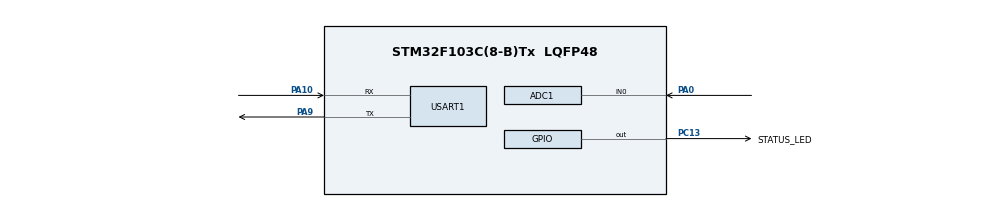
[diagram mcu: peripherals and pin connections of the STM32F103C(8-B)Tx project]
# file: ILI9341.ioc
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ADC1.Channel-0\#ChannelRegularConversion=ADC_CHANNEL_0
ADC1.ContinuousConvMode=DISABLE
ADC1.DataAlign=ADC_DATAALIGN_RIGHT
ADC1.DiscontinuousConvMode=DISABLE
ADC1.EnableAnalogWatchDog=false
ADC1.EnableRegularConversion=ENABLE
ADC1.ExternalTrigConv=ADC_EXTERNALTRIGCONV_T3_TRGO
ADC1.InjNumberOfConversion=0
ADC1.NbrOfConversion=1
ADC1.NbrOfConversionFlag=1
ADC1.Rank-0\#ChannelRegularConversion=1
ADC1.SamplingTime-0\#ChannelRegularConversion=ADC_SAMPLETIME_1CYCLE_5
ADC1.ScanConvMode=ADC_SCAN_DISABLE
ADC1.master=1
Dma.MEMTOMEM.0.Direction=DMA_MEMORY_TO_MEMORY
Dma.MEMTOMEM.0.Instance=DMA1_Channel1
Dma.MEMTOMEM.0.MemDataAlignment=DMA_MDATAALIGN_BYTE
Dma.MEMTOMEM.0.MemInc=DMA_MINC_ENABLE
Dma.MEMTOMEM.0.Mode=DMA_NORMAL
Dma.MEMTOMEM.0.PeriphDataAlignment=DMA_PDATAALIGN_BYTE
Dma.MEMTOMEM.0.PeriphInc=DMA_PINC_ENABLE
Dma.MEMTOMEM.0.Priority=DMA_PRIORITY_LOW
Dma.Request0=MEMTOMEM
Mcu.Family=STM32F1
Mcu.Name=STM32F103C(8-B)Tx
Mcu.Package=LQFP48
NVIC.PriorityGroup=NVIC_PRIORITYGROUP_4
NVIC.TIM3_IRQn=true\:0\:0\:false\:false\:true
PA0-WKUP.Signal=ADCx_IN0
PA10.Mode=Asynchronous
PA10.Signal=USART1_RX
PA13.Mode=Serial_Wire
PA13.Signal=SYS_JTMS-SWDIO
PA14.Mode=Serial_Wire
PA14.Signal=SYS_JTCK-SWCLK
PA9.Mode=Asynchronous
PA9.Signal=USART1_TX
PC13-TAMPER-RTC.GPIO_Label=STATUS_LED
PC13-TAMPER-RTC.Signal=GPIO_Output
PD0-OSC_IN.Mode=HSE-External-Oscillator
PD0-OSC_IN.Signal=RCC_OSC_IN
PD1-OSC_OUT.Mode=HSE-External-Oscillator
PD1-OSC_OUT.Signal=RCC_OSC_OUT
ProjectManager.HeapSize=0x200
ProjectManager.StackSize=0x400
ProjectManager.TargetToolchain=Makefile
RCC.ADCPresc=RCC_ADCPCLK2_DIV6
RCC.AHBFreq_Value=72000000
RCC.APB1CLKDivider=RCC_HCLK_DIV2
RCC.APB1Freq_Value=36000000
RCC.APB1TimFreq_Value=72000000
RCC.APB2Freq_Value=72000000
RCC.APB2TimFreq_Value=72000000
RCC.HCLKFreq_Value=72000000
RCC.PLLMUL=RCC_PLL_MUL9
RCC.PLLSourceVirtual=RCC_PLLSOURCE_HSE
RCC.SYSCLKFreq_VALUE=72000000
RCC.SYSCLKSource=RCC_SYSCLKSOURCE_PLLCLK
RCC.USBFreq_Value=72000000
SH.ADCx_IN0.0=ADC1_IN0,IN0
TIM3.Period=10
TIM3.Prescaler=72-1
TIM3.TIM_MasterOutputTrigger=TIM_TRGO_UPDATE
USART1.VirtualMode=VM_ASYNC
VP_TIM3_VS_ClockSourceINT.Mode=Internal
board=ILI9341

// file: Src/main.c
/**
  ******************************************************************************
  * File Name          : main.c
  * Description        : Main program body
  ******************************************************************************
  ** This notice applies to any and all portions of this file
  * that are not between comment pairs USER CODE BEGIN and
  * USER CODE END. Other portions of this file, whether
  * inserted by the user or by software development tools
  * are owned by their respective copyright owners.
  *
  * COPYRIGHT(c) 2018 STMicroelectronics
  *
  * Redistribution and use in source and binary forms, with or without modification,
  * are permitted provided that the following conditions are met:
  *   1. Redistributions of source code must retain the above copyright notice,
  *      this list of conditions and the following disclaimer.
  *   2. Redistributions in binary form must reproduce the above copyright notice,
  *      this list of conditions and the following disclaimer in the documentation
  *      and/or other materials provided with the distribution.
  *   3. Neither the name of STMicroelectronics nor the names of its contributors
  *      may be used to endorse or promote products derived from this software
  *      without specific prior written permission.
  *
  * THIS SOFTWARE IS PROVIDED BY THE COPYRIGHT HOLDERS AND CONTRIBUTORS "AS IS"
  * AND ANY EXPRESS OR IMPLIED WARRANTIES, INCLUDING, BUT NOT LIMITED TO, THE
  * IMPLIED WARRANTIES OF MERCHANTABILITY AND FITNESS FOR A PARTICULAR PURPOSE ARE
  * DISCLAIMED. IN NO EVENT SHALL THE COPYRIGHT HOLDER OR CONTRIBUTORS BE LIABLE
  * FOR ANY DIRECT, INDIRECT, INCIDENTAL, SPECIAL, EXEMPLARY, OR CONSEQUENTIAL
  * DAMAGES (INCLUDING, BUT NOT LIMITED TO, PROCUREMENT OF SUBSTITUTE GOODS OR
  * SERVICES; LOSS OF USE, DATA, OR PROFITS; OR BUSINESS INTERRUPTION) HOWEVER
  * CAUSED AND ON ANY THEORY OF LIABILITY, WHETHER IN CONTRACT, STRICT LIABILITY,
  * OR TORT (INCLUDING NEGLIGENCE OR OTHERWISE) ARISING IN ANY WAY OUT OF THE USE
  * OF THIS SOFTWARE, EVEN IF ADVISED OF THE POSSIBILITY OF SUCH DAMAGE.
  *
  ******************************************************************************
  */
#include "main.h"
#include "stm32f1xx_hal.h"
#include "adc.h"
#include "dma.h"
#include "tim.h"
#include "usart.h"
#include "gpio.h"

/* USER CODE BEGIN Includes */
#include "SetSysClockTo128.h"
#include "pins_ext.h"
#include "bit_band.h"
#include "soft_spi.h"
#include <math.h>
// #include <stdlib.h>
#include "ILI9341.h"
#include "xpt2046.h"
#include "draw.h"
#include "utoa.h"

#define M_PI 3.14159

void stled_on(void)
{
  HAL_GPIO_WritePin(STATUS_LED_GPIO_Port, STATUS_LED_Pin, GPIO_PIN_SET);
}

void stled_off(void)
{
  HAL_GPIO_WritePin(STATUS_LED_GPIO_Port, STATUS_LED_Pin, GPIO_PIN_RESET);
}

/* USER CODE END Includes */

/* USER CODE BEGIN PV */
/* Private variables ---------------------------------------------------------*/
uint16_t ofset_ray=18; // vertical ofset ray variable by Src/draw.c
uint16_t accuracy=128; // speed - accuracy ray
uint16_t touch_pressed = 0; // if pressed

extern bitband_t mosi;
extern bitband_t clock;
extern bitband_t miso;
extern bitband_t lcd_rst;
extern bitband_t lcd_cs;
extern bitband_t lcd_dc;

extern bitband_t touch_cs;
extern bitband_t mosi_2;
extern bitband_t miso_2;
extern bitband_t clock_2;

/* USER CODE END PV */

/* USER CODE BEGIN PFP */
/* Private function prototypes -----------------------------------------------*/

/* USER CODE END PFP */

int main(void)
{

  /* MCU Configuration----------------------------------------------------------*/

  /* Reset of all peripherals, Initializes the Flash interface and the Systick. */
  HAL_Init();

  /* USER CODE BEGIN Init */

/*
connect:
    --------------------------------------------------------------------
   |   .----------------------------.                                   |
   |  vcc gnd cs rst dc mosi clock led miso t_clk t_cs t_din t_do t_irq | ili9341 spi
   |   |   |   |  |   |  |    |         |    |     |    |     |    |    |
   |  vcc gnd  | b9  b8 b7   b6   b5   b4   b3    a15  a12   a11  a10   | stm32
   |           '-------------------'                                    |
    --------------------------------------------------------------------
*/

  mosi = BITBAND_PERIPH(&GPIOB->ODR, 7);
  miso = BITBAND_PERIPH(&GPIOB->IDR, 4);
  clock = BITBAND_PERIPH(&GPIOB->ODR, 6);

  lcd_cs = BITBAND_PERIPH(&GPIOB->ODR, 5);
  lcd_dc = BITBAND_PERIPH(&GPIOB->ODR, 8);
  lcd_rst = BITBAND_PERIPH(&GPIOB->ODR, 9);

  mosi_2 = BITBAND_PERIPH(&GPIOA->ODR, 12);
  miso_2 = BITBAND_PERIPH(&GPIOA->IDR, 11);
  clock_2 = BITBAND_PERIPH(&GPIOB->ODR, 3);
  touch_cs = BITBAND_PERIPH(&GPIOA->ODR, 15);

  pin_mode(GPIOB, GPIO_PIN_4, GPIO_MODE_INPUT);
  pin_mode(GPIOB, GPIO_PIN_5, GPIO_MODE_OUTPUT_PP);
  pin_mode(GPIOB, GPIO_PIN_6, GPIO_MODE_OUTPUT_PP);
  pin_mode(GPIOB, GPIO_PIN_7, GPIO_MODE_OUTPUT_PP);
  pin_mode(GPIOB, GPIO_PIN_8, GPIO_MODE_OUTPUT_PP);
  pin_mode(GPIOB, GPIO_PIN_9, GPIO_MODE_OUTPUT_PP);

  pin_mode(GPIOA, GPIO_PIN_10, GPIO_MODE_INPUT);
  pin_mode(GPIOA, GPIO_PIN_11, GPIO_MODE_INPUT);
  pin_mode(GPIOA, GPIO_PIN_12, GPIO_MODE_OUTPUT_PP);
  pin_mode(GPIOA, GPIO_PIN_15, GPIO_MODE_OUTPUT_PP);
  pin_mode(GPIOB, GPIO_PIN_3, GPIO_MODE_OUTPUT_PP);

  /* USER CODE END Init */

  /* Configure the system clock */

  /* USER CODE BEGIN SysInit */
  HAL_RCC_DeInit();
  SystemClock_Config128();

  /* USER CODE END SysInit */

  /* Initialize all configured peripherals */
  MX_GPIO_Init();
  MX_DMA_Init();
  MX_USART1_UART_Init();
  MX_ADC1_Init();
  MX_TIM3_Init();

  /* USER CODE BEGIN 2 */

  ILI9341_reset();
  // HAL_GPIO_WritePin(GPIOA, LCD_LED_Pin, GPIO_PIN_SET);
  soft_spi_set_bit_order(SPI_MSB_FIRST);
  soft_spi_set_data_mode(SPI_MODE0);
  soft_spi_set_clock_divider(SPI_CLOCK_DIV16);

  soft_spi_2_set_bit_order(SPI_MSB_FIRST);
  soft_spi_2_set_data_mode(SPI_MODE0);
  soft_spi_2_set_clock_2_divider(SPI_CLOCK_DIV16);

  ILI9341_begin(/*&hspi1*/);

  /* USER CODE END 2 */

  /* Infinite loop */
  /* USER CODE BEGIN WHILE */

  HAL_TIM_Base_Init(&htim3);
  HAL_TIM_PeriodElapsedCallback(&htim3);
  HAL_TIM_Base_Start_IT(&htim3); // timer run

// HAL_TIM_Base_Init(&htim4);
// HAL_TIM_Base_Start_IT(&htim4); // timer run

  HAL_ADC_Start(&hadc1); // adc run

  ILI9341_setRotation(3);
  draw_statusbar();
  draw_dot_grid();

  while (1)
  {
    //test_touch();
    oscil_run();
  /* USER CODE END WHILE */

  }

}

void _Error_Handler(char * file, int line)
{
  while(1)
  {
  }
}

#ifdef USE_FULL_ASSERT

/**
   * @brief Reports the name of the source file and the source line number
   * where the assert_param error has occurred.
   * @param file: pointer to the source file name
   * @param line: assert_param error line source number
   * @retval None
   */
void assert_failed(uint8_t* file, uint32_t line)
{
  /* USER CODE BEGIN 6 */
  /* User can add his own implementation to report the file name and line number,
   *    ex: printf("Wrong parameters value: file %s on line %d\r\n", file, line) */
  /* USER CODE END 6 */

}

#endif

/************************ (C) COPYRIGHT STMicroelectronics *****END OF FILE****/
